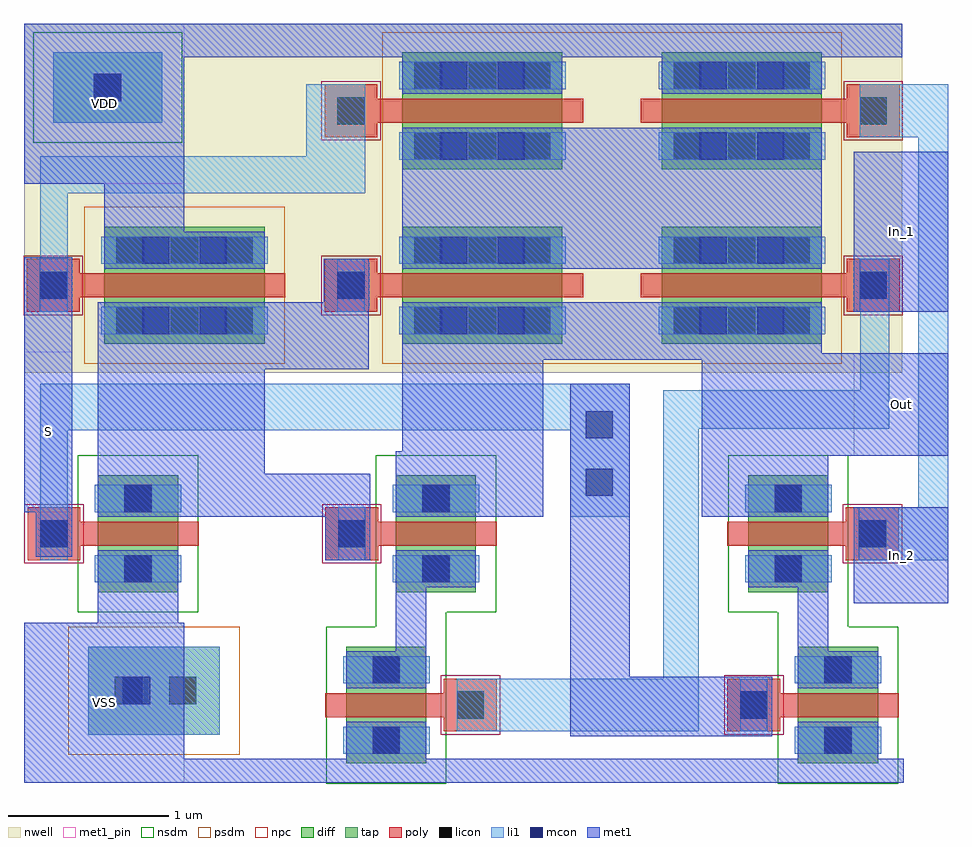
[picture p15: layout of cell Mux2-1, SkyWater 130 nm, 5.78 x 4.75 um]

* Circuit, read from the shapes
.subckt Mux2-1 In_1 In_2 Out S VDD VSS
XM1 n1 S VSS VSS sky130_fd_pr__nfet_01v8 w=0.5 l=0.15
XM2 n2 In_1 VSS VSS sky130_fd_pr__nfet_01v8 w=0.5 l=0.15
XM3 Out n1 n2 VSS sky130_fd_pr__nfet_01v8 w=0.5 l=0.15
XM4 Out In_2 n3 VSS sky130_fd_pr__nfet_01v8 w=0.5 l=0.15
XM5 n3 S VSS VSS sky130_fd_pr__nfet_01v8 w=0.5 l=0.15
XM6 VDD S n1 VDD sky130_fd_pr__pfet_01v8 w=1 l=0.15
XM7 n4 n1 Out VDD sky130_fd_pr__pfet_01v8 w=1 l=0.15
XM8 VDD S n4 VDD sky130_fd_pr__pfet_01v8 w=1 l=0.15
XM9 n4 In_1 Out VDD sky130_fd_pr__pfet_01v8 w=1 l=0.15
XM10 VDD In_2 n4 VDD sky130_fd_pr__pfet_01v8 w=1 l=0.15
.ends

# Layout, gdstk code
from math import pi, radians
import gdstk
lib = gdstk.Library(unit=1e-6, precision=1e-09)
def R(c, l, rs):  # rectangles x0, y0, x1, y1
    for r in rs: c.add(gdstk.rectangle(r[:2], r[2:], *l))
def A(c, l, x, y, w, h, nx, ny, dx, dy):  # array of equal rectangles
    R(c, l, [(x+i*dx, y+j*dy, x+i*dx+w, y+j*dy+h) for i in range(nx) for j in range(ny)])
nwell = (64, 20)
diff = (65, 20)
tap = (65, 44)
poly = (66, 20)
licon = (66, 44)
li1 = (67, 20)
mcon = (67, 44)
met1_pin = (68, 16)
met1 = (68, 20)
nsdm = (93, 44)
psdm = (94, 20)
npc = (95, 20)

sky130_fd_pr__nfet_01v8_ = lib.new_cell('sky130_fd_pr__nfet_01v8_8DMXDH')
R(sky130_fd_pr__nfet_01v8_, diff, [(-0.365,-0.405,0.365,0.095)])
R(sky130_fd_pr__nfet_01v8_, poly, [(-0.075,-0.535,0.075,0.205), (-0.165,0.205,0.165,0.535)])
R(sky130_fd_pr__nfet_01v8_, licon, [(-0.305,-0.24,-0.135,-0.07), (0.135,-0.24,0.305,-0.07), (-0.085,0.285,0.085,0.455)])
R(sky130_fd_pr__nfet_01v8_, li1, [(-0.305,-0.425,-0.135,0.115), (0.135,-0.425,0.305,0.115), (-0.165,0.285,0.165,0.455)])
R(sky130_fd_pr__nfet_01v8_, mcon, [(-0.305,-0.24,-0.135,-0.07), (0.135,-0.24,0.305,-0.07), (-0.085,0.285,0.085,0.455)])
R(sky130_fd_pr__nfet_01v8_, met1, [(-0.335,-0.405,-0.105,0.095), (0.105,-0.405,0.335,0.095), (-0.145,0.255,0.145,0.485)])
R(sky130_fd_pr__nfet_01v8_, nsdm, [(-0.49,-0.53,0.49,0.22)])
R(sky130_fd_pr__nfet_01v8_, npc, [(-0.185,0.185,0.185,0.555)])

c_sky130_fd_pr__nfet_01v8_ = lib.new_cell('sky130_fd_pr__nfet_01v8_CQHVT8')
R(c_sky130_fd_pr__nfet_01v8_, diff, [(-0.365,-0.405,0.365,0.095)])
R(c_sky130_fd_pr__nfet_01v8_, poly, [(-0.075,-0.535,0.075,0.205), (-0.165,0.205,0.165,0.535)])
R(c_sky130_fd_pr__nfet_01v8_, licon, [(-0.305,-0.24,-0.135,-0.07), (0.135,-0.24,0.305,-0.07), (-0.085,0.285,0.085,0.455)])
R(c_sky130_fd_pr__nfet_01v8_, li1, [(-0.305,-0.425,-0.135,0.115), (0.135,-0.425,0.305,0.115), (-0.165,0.285,0.165,0.455)])
R(c_sky130_fd_pr__nfet_01v8_, mcon, [(-0.305,-0.24,-0.135,-0.07), (0.135,-0.24,0.305,-0.07)])
R(c_sky130_fd_pr__nfet_01v8_, met1, [(-0.335,-0.405,-0.105,0.095), (0.105,-0.405,0.335,0.095)])
R(c_sky130_fd_pr__nfet_01v8_, nsdm, [(-0.49,-0.53,0.49,0.22)])
R(c_sky130_fd_pr__nfet_01v8_, npc, [(-0.185,0.185,0.185,0.555)])

sky130_fd_pr__pfet_01v8_ = lib.new_cell('sky130_fd_pr__pfet_01v8_CWU6PJ')
R(sky130_fd_pr__pfet_01v8_, nwell, [(-0.545,-0.99,0.545,0.82)])
R(sky130_fd_pr__pfet_01v8_, diff, [(-0.365,-0.68,0.365,0.32)])
R(sky130_fd_pr__pfet_01v8_, poly, [(-0.075,-0.81,0.075,0.475), (-0.165,0.475,0.165,0.805)])
A(sky130_fd_pr__pfet_01v8_, licon, -0.305, -0.605, 0.17, 0.17, 1, 3, 0, 0.34)
A(sky130_fd_pr__pfet_01v8_, licon, 0.135, -0.605, 0.17, 0.17, 1, 3, 0, 0.34)
R(sky130_fd_pr__pfet_01v8_, licon, [(-0.085,0.555,0.085,0.725)])
R(sky130_fd_pr__pfet_01v8_, li1, [(-0.305,-0.7,-0.135,0.34), (0.135,-0.7,0.305,0.34), (-0.165,0.555,0.165,0.725)])
R(sky130_fd_pr__pfet_01v8_, mcon, [(-0.305,-0.445,-0.135,-0.275), (0.135,-0.445,0.305,-0.275), (-0.305,-0.085,-0.135,0.085), (0.135,-0.085,0.305,0.085), (-0.085,0.555,0.085,0.725)])
R(sky130_fd_pr__pfet_01v8_, met1, [(-0.335,-0.68,-0.105,0.32), (0.105,-0.68,0.335,0.32), (-0.145,0.525,0.145,0.755)])
R(sky130_fd_pr__pfet_01v8_, psdm, [(-0.49,-0.805,0.49,0.445)])
R(sky130_fd_pr__pfet_01v8_, npc, [(-0.185,0.455,0.185,0.825)])

c_sky130_fd_pr__pfet_01v8_ = lib.new_cell('sky130_fd_pr__pfet_01v8_AMN6CD')
R(c_sky130_fd_pr__pfet_01v8_, nwell, [(-0.545,-0.99,0.545,0.82)])
R(c_sky130_fd_pr__pfet_01v8_, diff, [(-0.365,-0.68,0.365,0.32)])
R(c_sky130_fd_pr__pfet_01v8_, poly, [(-0.075,-0.81,0.075,0.475), (-0.165,0.475,0.165,0.805)])
A(c_sky130_fd_pr__pfet_01v8_, licon, -0.305, -0.605, 0.17, 0.17, 1, 3, 0, 0.34)
A(c_sky130_fd_pr__pfet_01v8_, licon, 0.135, -0.605, 0.17, 0.17, 1, 3, 0, 0.34)
R(c_sky130_fd_pr__pfet_01v8_, licon, [(-0.085,0.555,0.085,0.725)])
R(c_sky130_fd_pr__pfet_01v8_, li1, [(-0.305,-0.7,-0.135,0.34), (0.135,-0.7,0.305,0.34), (-0.165,0.555,0.165,0.725)])
R(c_sky130_fd_pr__pfet_01v8_, mcon, [(-0.305,-0.445,-0.135,-0.275), (0.135,-0.445,0.305,-0.275), (-0.305,-0.085,-0.135,0.085), (0.135,-0.085,0.305,0.085)])
R(c_sky130_fd_pr__pfet_01v8_, met1, [(-0.335,-0.68,-0.105,0.32), (0.105,-0.68,0.335,0.32)])
R(c_sky130_fd_pr__pfet_01v8_, psdm, [(-0.49,-0.805,0.49,0.445)])
R(c_sky130_fd_pr__pfet_01v8_, npc, [(-0.185,0.455,0.185,0.825)])

mux2_1 = lib.new_cell('Mux2-1')
R(mux2_1, nwell, [(10.73,-0.84,12.95,1.34)])
R(mux2_1, tap, [(11.13,-3.1,11.95,-2.55), (10.91,0.72,11.59,1.16)])
R(mux2_1, licon, [(11.295,-2.91,11.465,-2.74), (11.635,-2.91,11.805,-2.74), (11.165,0.855,11.335,1.025)])
R(mux2_1, li1, [(11.13,-3.1,11.95,-2.55), (13.43,-3.08,14.94,-2.75), (14.72,-2.75,14.94,-1.19), (10.83,-2.01,11,-1.2), (15.94,-2.01,16.5,-1.68), (14.14,-1.74,14.51,-1.2), (16.31,-1.68,16.5,0.63), (10.83,-1.2,14.51,-0.91), (14.72,-1.19,16.13,-0.95), (15.95,-0.95,16.13,-0.13), (10.83,-0.46,11,0.28), (10.83,0.28,12.86,0.51), (12.49,0.51,12.86,0.96), (15.95,0.63,16.5,0.96), (10.91,0.72,11.59,1.16)])
R(mux2_1, mcon, [(11.345,-2.91,11.515,-2.74), (14.235,-1.61,14.405,-1.44), (14.235,-1.25,14.405,-1.08), (11.165,0.855,11.335,1.025)])
R(mux2_1, met1_pin, [(10.73,-3.4,11.73,-2.4), (15.91,-2.28,16.5,-1.68), (10.73,-1.71,11.03,-0.71), (15.91,-1.36,16.5,-0.72), (15.91,-0.46,16.5,0.54), (10.73,0.34,11.73,1.34)])
R(mux2_1, met1, [(10.73,-3.4,16.22,-3.25), (10.73,-3.25,11.73,-2.4), (14.14,-3.11,15.4,-2.74), (13.05,-2.81,13.24,-1.95), (15.56,-2.81,15.75,-1.95), (14.14,-2.74,14.51,-0.91), (11.19,-2.4,11.69,-2.18), (15.91,-2.28,16.5,-1.68), (12.61,-2.01,12.89,-1.74), (11.19,-1.74,12.89,-1.47), (13.05,-1.74,13.97,-1.33), (14.96,-1.74,15.71,-1.57), (10.73,-1.71,11.03,-0.12), (14.96,-1.57,15.75,-1.36), (11.19,-1.47,12.23,-0.82), (14.96,-1.36,16.5,-0.76), (13.09,-1.33,13.97,-0.76), (11.19,-0.82,12.88,-0.4), (13.09,-0.76,16.5,-0.72), (13.09,-0.72,15.71,-0.4), (15.91,-0.46,16.5,0.54), (12.6,-0.4,12.88,-0.13), (13.09,-0.19,15.71,0.69), (11.23,0.04,11.73,0.34), (10.73,0.34,11.73,1.13), (10.73,1.13,16.21,1.34)])
R(mux2_1, nsdm, [(12.925,-2.425,13.365,-2.335), (15.435,-2.425,15.875,-2.335), (10.785,0.595,11.715,1.285)])
R(mux2_1, psdm, [(11.005,-3.225,12.075,-2.425), (14.215,-0.785,14.585,0.195), (12.965,0.195,15.835,0.305), (14.215,0.305,14.585,1.285)])
mux2_1.add(gdstk.Reference(sky130_fd_pr__nfet_01v8_, (11.285,-1.845), rotation=pi/2))
mux2_1.add(gdstk.Reference(c_sky130_fd_pr__nfet_01v8_, (13.145,-2.915), rotation=3*pi/2))
mux2_1.add(gdstk.Reference(sky130_fd_pr__nfet_01v8_, (13.145,-1.845), rotation=pi/2))
mux2_1.add(gdstk.Reference(sky130_fd_pr__nfet_01v8_, (15.655,-1.845), rotation=3*pi/2))
mux2_1.add(gdstk.Reference(sky130_fd_pr__nfet_01v8_, (15.655,-2.915), rotation=pi/2))
mux2_1.add(gdstk.Reference(sky130_fd_pr__pfet_01v8_, (11.55,-0.295), rotation=pi/2))
mux2_1.add(gdstk.Reference(c_sky130_fd_pr__pfet_01v8_, (13.41,0.795), rotation=pi/2))
mux2_1.add(gdstk.Reference(sky130_fd_pr__pfet_01v8_, (13.41,-0.295), rotation=pi/2))
mux2_1.add(gdstk.Reference(c_sky130_fd_pr__pfet_01v8_, (15.39,0.795), rotation=3*pi/2))
mux2_1.add(gdstk.Reference(sky130_fd_pr__pfet_01v8_, (15.39,-0.295), rotation=3*pi/2))
mux2_1.add(gdstk.Label('VDD', (11.23,0.84), layer=68, texttype=5))
mux2_1.add(gdstk.Label('In_1', (16.205,0.04), layer=68, texttype=5))
mux2_1.add(gdstk.Label('Out', (16.205,-1.04), layer=68, texttype=5))
mux2_1.add(gdstk.Label('S', (10.88,-1.21), layer=68, texttype=5))
mux2_1.add(gdstk.Label('In_2', (16.205,-1.98), layer=68, texttype=5))
mux2_1.add(gdstk.Label('VSS', (11.23,-2.9), layer=68, texttype=5))

lib.write_gds('Mux2-1.gds')
